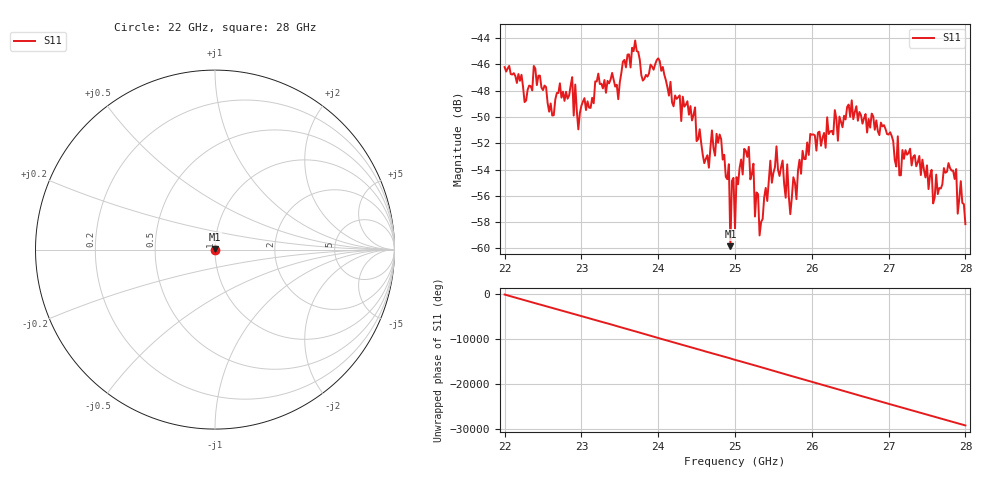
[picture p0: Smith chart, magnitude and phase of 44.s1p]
#  HZ  S  RI  R  50.00
! Rohde & Schwarz ZVA40 4Ports - Version 3.90 - 1145.1110k42 SN: 100403
! Date: 2023-10-04 07:34:32
! Measurement: S12
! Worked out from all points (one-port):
!   301 points, 22 GHz to 28 GHz, reference 50 ohm
!   lowest |S11| = -59.8 dB at 24.94 GHz (marker M1), VSWR 1.00, Z = 50.1 + j0.0811 ohm
!   |S11| at or under -10 dB: start of sweep to end of sweep
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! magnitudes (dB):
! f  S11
! 22 GHz  -46.2
! 22.76 GHz  -48.1
! 22.92 GHz  -47.5
! 22.96 GHz  -50.9
! 23.5 GHz  -47.4
! 23.7 GHz  -44.2
! 24.26 GHz  -48.5
! 24.66 GHz  -53.9
! 24.8 GHz  -51.3
! 24.92 GHz  -53.6
! 24.94 GHz  -59.8
! 24.96 GHz  -54.9
! 25 GHz  -58.5
! 25.02 GHz  -54.6
! 25.12 GHz  -52.4
! 25.24 GHz  -53.6
! 25.26 GHz  -57.6
! 25.32 GHz  -59.0
! 25.54 GHz  -52.2
! 25.72 GHz  -57.4
! 25.76 GHz  -54.6
! 26.5 GHz  -50.0
! 27.26 GHz  -52.7
! 27.58 GHz  -56.6
! 27.88 GHz  -54.0
! 27.9 GHz  -57.4
! 27.94 GHz  -54.9
! 28 GHz  -58.2
